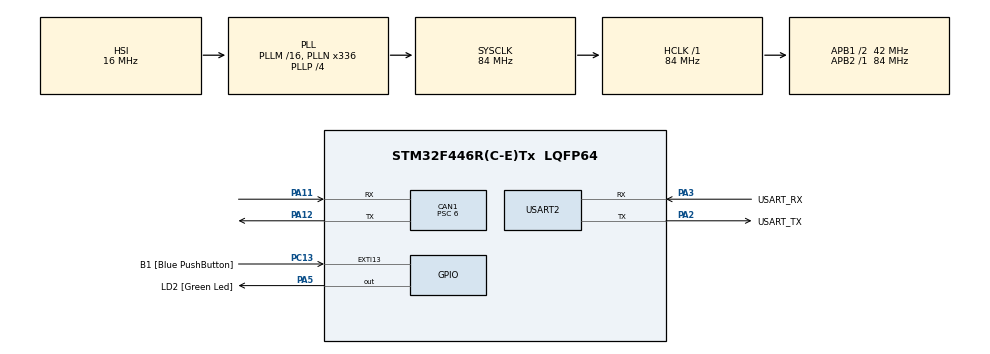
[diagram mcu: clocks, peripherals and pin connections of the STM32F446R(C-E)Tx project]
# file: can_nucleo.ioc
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CAN1.BS1=CAN_BS1_11TQ
CAN1.BS2=CAN_BS2_2TQ
CAN1.CalculateBaudRate=500000
CAN1.CalculateTimeBit=2000
CAN1.CalculateTimeQuantum=142.85714285714286
CAN1.Mode=CAN_MODE_NORMAL
CAN1.NART=ENABLE
CAN1.Prescaler=6
Mcu.Family=STM32F4
Mcu.Name=STM32F446R(C-E)Tx
Mcu.Package=LQFP64
NVIC.CAN1_RX0_IRQn=true\:0\:0\:false\:false\:true\:true\:true\:true
NVIC.CAN1_RX1_IRQn=true\:0\:0\:false\:false\:true\:true\:true\:true
NVIC.PriorityGroup=NVIC_PRIORITYGROUP_0
PA11.Mode=CAN_Activate
PA11.Signal=CAN1_RX
PA12.Mode=CAN_Activate
PA12.Signal=CAN1_TX
PA13.GPIO_Label=TMS
PA13.Mode=Serial_Wire
PA13.Signal=SYS_JTMS-SWDIO
PA14.GPIO_Label=TCK
PA14.Mode=Serial_Wire
PA14.Signal=SYS_JTCK-SWCLK
PA2.GPIO_Label=USART_TX
PA2.Mode=Asynchronous
PA2.Signal=USART2_TX
PA3.GPIO_Label=USART_RX
PA3.Mode=Asynchronous
PA3.Signal=USART2_RX
PA5.GPIO_Label=LD2 [Green Led]
PA5.Signal=GPIO_Output
PB3.GPIO_Label=SWO
PB3.Signal=SYS_JTDO-SWO
PC13.GPIO_Label=B1 [Blue PushButton]
PC13.GPIO_ModeDefaultEXTI=GPIO_MODE_IT_FALLING
PC13.Signal=GPXTI13
PC14-OSC32_IN.Mode=LSE-External-Oscillator
PC14-OSC32_IN.Signal=RCC_OSC32_IN
PC15-OSC32_OUT.Mode=LSE-External-Oscillator
PC15-OSC32_OUT.Signal=RCC_OSC32_OUT
PH0-OSC_IN.Mode=HSE-External-Oscillator
PH0-OSC_IN.Signal=RCC_OSC_IN
PH1-OSC_OUT.Mode=HSE-External-Oscillator
PH1-OSC_OUT.Signal=RCC_OSC_OUT
ProjectManager.HeapSize=0x200
ProjectManager.StackSize=0x400
ProjectManager.TargetToolchain=STM32CubeIDE
RCC.48MHZClocksFreq_Value=84000000
RCC.AHBFreq_Value=84000000
RCC.APB1CLKDivider=RCC_HCLK_DIV2
RCC.APB1Freq_Value=42000000
RCC.APB1TimFreq_Value=84000000
RCC.APB2Freq_Value=84000000
RCC.APB2TimFreq_Value=84000000
RCC.CortexFreq_Value=84000000
RCC.FLatency-AdvancedSettings=FLASH_LATENCY_2
RCC.HCLKFreq_Value=84000000
RCC.HSE_VALUE=8000000
RCC.HSI_VALUE=16000000
RCC.PLLN=336
RCC.PLLP=RCC_PLLP_DIV4
RCC.SYSCLKFreq_VALUE=84000000
RCC.SYSCLKSource=RCC_SYSCLKSOURCE_PLLCLK
RCC.USBFreq_Value=168000000
RCC.VCOOutputFreq_Value=336000000
USART2.VirtualMode=VM_ASYNC
board=NUCLEO-F446RE

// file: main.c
/* USER CODE BEGIN Header */
/**
  ******************************************************************************
  * @file           : main.c
  * @brief          : Main program body
  ******************************************************************************
  * @attention
  *
  * Copyright (c) 2025 STMicroelectronics.
  * All rights reserved.
  *
  * This software is licensed under terms that can be found in the LICENSE file
  * in the root directory of this software component.
  * If no LICENSE file comes with this software, it is provided AS-IS.
  *
  ******************************************************************************
  */
/* USER CODE END Header */
#include "main.h"

CAN_HandleTypeDef hcan1;

UART_HandleTypeDef huart2;

/* USER CODE BEGIN PV */
volatile uint8_t g_rx_flag = 0; // 0=нічого, 1=FIFO0, 2=FIFO1
/* USER CODE END PV */

void SystemClock_Config(void);
static void MX_GPIO_Init(void);
static void MX_USART2_UART_Init(void);
static void MX_CAN1_Init(void);

/* USER CODE BEGIN 0 */
CAN_TxHeaderTypeDef TxHeader;
CAN_RxHeaderTypeDef RxHeader;
uint8_t RxData[8];

/**
  * @brief Колбек для FIFO0 (Команди 0x040)
  * Встановлюємо прапорець для main()
  */
void HAL_CAN_RxFifo0MsgPendingCallback(CAN_HandleTypeDef *hcan)
{
	HAL_CAN_GetRxMessage(hcan, CAN_RX_FIFO0, &RxHeader, RxData);
	if (RxHeader.StdId == 0x040)
	{
		g_rx_flag = 1; // Сигнал для main()
	}
}

/**
  * @brief Колбек для FIFO1 (Heartbeats 0x081)
  */
void HAL_CAN_RxFifo1MsgPendingCallback(CAN_HandleTypeDef *hcan)
{
	HAL_CAN_GetRxMessage(hcan, CAN_RX_FIFO1, &RxHeader, RxData);
	if (RxHeader.StdId == 0x081)
	{
		g_rx_flag = 2; // Сигнал для main()
	}
}
//CAN_TxHeaderTypeDef TxHeader;
//CAN_RxHeaderTypeDef RxHeader;
//
//uint32_t TxMailbox[4];
//
//uint8_t TxData[8];
//uint8_t RxData[8];
//
//uint8_t count = 0;
//
//void HAL_CAN_RxFifo0MsgPendingCallback(CAN_HandleTypeDef *hcan)
//{
//	HAL_CAN_GetRxMessage(hcan, CAN_RX_FIFO0, &RxHeader, RxData);
//	count++;
//    HAL_GPIO_TogglePin(LD2_GPIO_Port, LD2_Pin);
//}
/* USER CODE END 0 */

int main(void)
{

  /* MCU Configuration--------------------------------------------------------*/

  /* Reset of all peripherals, Initializes the Flash interface and the Systick. */
  HAL_Init();

  /* Configure the system clock */
  SystemClock_Config();

  /* Initialize all configured peripherals */
  MX_GPIO_Init();
  MX_USART2_UART_Init();
  MX_CAN1_Init();
  /* USER CODE BEGIN 2 */
//  __HAL_CAN_CLEAR_FLAG(&hcan1, CAN_FLAG_WKU);
  if (HAL_CAN_Start(&hcan1) != HAL_OK) {
      Error_Handler();
  }
  HAL_CAN_ActivateNotification(&hcan1, CAN_IT_RX_FIFO0_MSG_PENDING);
  HAL_CAN_ActivateNotification(&hcan1, CAN_IT_RX_FIFO1_MSG_PENDING);

//  TxHeader.DLC = 8; // Згідно з док. 8 байт (CmdID|...|CRC8) [cite: 22, 25]
//    TxHeader.ExtId = 0;
//    TxHeader.IDE = CAN_ID_STD;
//    TxHeader.RTR = CAN_RTR_DATA;
//    TxHeader.StdId = 0x040; // ID для CMD (Команди)
//    TxHeader.TransmitGlobalTime = DISABLE;
//
//    // "Фейкові" дані команди [cite: 25]
//    TxData[0] = 0x01; // CmdID
//    TxData[1] = 0x0A; // Arg0
//    TxData[2] = 0x0B; // Arg1
//    TxData[3] = 0x0C; // Arg2
//    TxData[4] = 0x44; // Token
//    TxData[5] = 0x01; // Seq
//    TxData[6] = 0xAB; // CRC8
//    TxData[7] = 0x01; // Ver
//  TxHeader.DLC = 1;
//  TxHeader.ExtId = 0;
//  TxHeader.IDE = CAN_ID_STD;
//  TxHeader.RTR = CAN_RTR_DATA;
//  TxHeader.StdId = 0x111;
//  TxHeader.TransmitGlobalTime = DISABLE;
//
//  TxData[0] = 0x01;
//  TxData[1] = 0x02;
//  TxData[2] = 0x03;
//  TxData[3] = 0x04;
//
//  if (HAL_CAN_AddTxMessage(&hcan1, &TxHeader, &TxData[0], &TxMailbox[0]) != HAL_OK)
//  {
//	  Error_Handler();
//  }
//  if (HAL_CAN_AddTxMessage(&hcan1, &TxHeader, &TxData[1], &TxMailbox[1]) != HAL_OK)
//  {
//	  Error_Handler();
//  }
//  if (HAL_CAN_AddTxMessage(&hcan1, &TxHeader, &TxData[2], &TxMailbox[2]) != HAL_OK)
//  {
//	  Error_Handler();
//  }
//  if (HAL_CAN_AddTxMessage(&hcan1, &TxHeader, &TxData[3], &TxMailbox[3]) != HAL_OK)
//  {
//	  Error_Handler();
//  }

  /* USER CODE END 2 */

  /* Infinite loop */
  while (1)
  {

    /* USER CODE BEGIN 3 */
//	  if (HAL_CAN_AddTxMessage(&hcan1, &TxHeader, TxData, &TxMailbox[0]) != HAL_OK)
//	  {
//		  Error_Handler();
//	  }
//	  HAL_Delay(100);
	  if (g_rx_flag == 1) // Отримали повідомлення у FIFO0 (0x040)
	  {
		  // Виконуємо подвійний блимк тут, у main()
		  HAL_GPIO_WritePin(LD2_GPIO_Port, LD2_Pin, GPIO_PIN_SET);
		  HAL_Delay(50);
		  HAL_GPIO_WritePin(LD2_GPIO_Port, LD2_Pin, GPIO_PIN_RESET);
		  HAL_Delay(50);
		  HAL_GPIO_WritePin(LD2_GPIO_Port, LD2_Pin, GPIO_PIN_SET);
		  HAL_Delay(50);
		  HAL_GPIO_WritePin(LD2_GPIO_Port, LD2_Pin, GPIO_PIN_RESET);

		  g_rx_flag = 0; // Скидаємо прапорець
	  }
	  else if (g_rx_flag == 2) // Отримали повідомлення у FIFO1 (0x081)
	  {
		  // Виконуємо Toggle тут, у main()
		  HAL_GPIO_TogglePin(LD2_GPIO_Port, LD2_Pin);

		  g_rx_flag = 0; // Скидаємо прапорець
	  }
  }
  /* USER CODE END 3 */
}

void SystemClock_Config(void)
{
  RCC_OscInitTypeDef RCC_OscInitStruct = {0};
  RCC_ClkInitTypeDef RCC_ClkInitStruct = {0};

  /** Configure the main internal regulator output voltage
  */
  __HAL_RCC_PWR_CLK_ENABLE();
  __HAL_PWR_VOLTAGESCALING_CONFIG(PWR_REGULATOR_VOLTAGE_SCALE3);

  /** Initializes the RCC Oscillators according to the specified parameters
  * in the RCC_OscInitTypeDef structure.
  */
  RCC_OscInitStruct.OscillatorType = RCC_OSCILLATORTYPE_HSI;
  RCC_OscInitStruct.HSIState = RCC_HSI_ON;
  RCC_OscInitStruct.HSICalibrationValue = RCC_HSICALIBRATION_DEFAULT;
  RCC_OscInitStruct.PLL.PLLState = RCC_PLL_ON;
  RCC_OscInitStruct.PLL.PLLSource = RCC_PLLSOURCE_HSI;
  RCC_OscInitStruct.PLL.PLLM = 16;
  RCC_OscInitStruct.PLL.PLLN = 336;
  RCC_OscInitStruct.PLL.PLLP = RCC_PLLP_DIV4;
  RCC_OscInitStruct.PLL.PLLQ = 2;
  RCC_OscInitStruct.PLL.PLLR = 2;
  if (HAL_RCC_OscConfig(&RCC_OscInitStruct) != HAL_OK)
  {
    Error_Handler();
  }

  /** Initializes the CPU, AHB and APB buses clocks
  */
  RCC_ClkInitStruct.ClockType = RCC_CLOCKTYPE_HCLK|RCC_CLOCKTYPE_SYSCLK
                              |RCC_CLOCKTYPE_PCLK1|RCC_CLOCKTYPE_PCLK2;
  RCC_ClkInitStruct.SYSCLKSource = RCC_SYSCLKSOURCE_PLLCLK;
  RCC_ClkInitStruct.AHBCLKDivider = RCC_SYSCLK_DIV1;
  RCC_ClkInitStruct.APB1CLKDivider = RCC_HCLK_DIV2;
  RCC_ClkInitStruct.APB2CLKDivider = RCC_HCLK_DIV1;

  if (HAL_RCC_ClockConfig(&RCC_ClkInitStruct, FLASH_LATENCY_2) != HAL_OK)
  {
    Error_Handler();
  }
}

static void MX_CAN1_Init(void)
{

  hcan1.Instance = CAN1;
  hcan1.Init.Prescaler = 6;
  hcan1.Init.Mode = CAN_MODE_NORMAL;
  hcan1.Init.SyncJumpWidth = CAN_SJW_1TQ;
  hcan1.Init.TimeSeg1 = CAN_BS1_11TQ;
  hcan1.Init.TimeSeg2 = CAN_BS2_2TQ;
  hcan1.Init.TimeTriggeredMode = DISABLE;
  hcan1.Init.AutoBusOff = DISABLE;
  hcan1.Init.AutoWakeUp = DISABLE;
  hcan1.Init.AutoRetransmission = ENABLE;
  hcan1.Init.ReceiveFifoLocked = DISABLE;
  hcan1.Init.TransmitFifoPriority = DISABLE;
  if (HAL_CAN_Init(&hcan1) != HAL_OK)
  {
    Error_Handler();
  }
  /* USER CODE BEGIN CAN1_Init 2 */
  // --- Налаштування Фільтра 0 (для FIFO0) ---
    CAN_FilterTypeDef canfilterconfig_fifo0;

    canfilterconfig_fifo0.FilterActivation = CAN_FILTER_ENABLE;
    canfilterconfig_fifo0.FilterBank = 0; // Використовуємо банк 0
    canfilterconfig_fifo0.FilterFIFOAssignment = CAN_RX_FIFO0; // Направляємо у FIFO0 [cite: 46]
    canfilterconfig_fifo0.FilterMode = CAN_FILTERMODE_IDLIST; // Режим "Точний список ID"
    canfilterconfig_fifo0.FilterScale = CAN_FILTERSCALE_32BIT; // 32-бітний масштаб

    // Дозволяємо ID 0x040
    // Використовуємо зсув << 5, як вимагає bxCAN HAL [cite: 44]
    canfilterconfig_fifo0.FilterIdHigh = (0x040 << 5);
    canfilterconfig_fifo0.FilterIdLow = 0x0000;
    // Маски не використовуються в режимі IDLIST
    canfilterconfig_fifo0.FilterMaskIdHigh = 0x0000;
    canfilterconfig_fifo0.FilterMaskIdLow = 0x0000;

    canfilterconfig_fifo0.SlaveStartFilterBank = 14; // Розділ банків (для F4)

    if (HAL_CAN_ConfigFilter(&hcan1, &canfilterconfig_fifo0) != HAL_OK)
    {
        Error_Handler();
    }

    // --- Налаштування Фільтра 1 (для FIFO1) ---
    CAN_FilterTypeDef canfilterconfig_fifo1;

    canfilterconfig_fifo1.FilterActivation = CAN_FILTER_ENABLE;
    canfilterconfig_fifo1.FilterBank = 1; // Використовуємо банк 1
    canfilterconfig_fifo1.FilterFIFOAssignment = CAN_RX_FIFO1; // Направляємо у FIFO1 [cite: 47]
    canfilterconfig_fifo1.FilterMode = CAN_FILTERMODE_IDLIST;
    canfilterconfig_fifo1.FilterScale = CAN_FILTERSCALE_32BIT;

    // Дозволяємо ID 0x081 (Heartbeat від Node A)
    canfilterconfig_fifo1.FilterIdHigh = (0x081 << 5); // Зсув << 5 [cite: 44]
    canfilterconfig_fifo1.FilterIdLow = 0x0000;
    canfilterconfig_fifo1.FilterMaskIdHigh = 0x0000;
    canfilterconfig_fifo1.FilterMaskIdLow = 0x0000;

    // SlaveStartFilterBank ігнорується для банків > 0, але встановимо для ясності
    canfilterconfig_fifo1.SlaveStartFilterBank = 14;

    if (HAL_CAN_ConfigFilter(&hcan1, &canfilterconfig_fifo1) != HAL_OK)
    {
        Error_Handler();
    }
  //  CAN_FilterTypeDef canfilterconfig;
//
//  canfilterconfig.FilterActivation = CAN_FILTER_ENABLE;
//  canfilterconfig.FilterBank = 10;  // anything between 0 to SlaveStartFilterBank
//  canfilterconfig.FilterFIFOAssignment = CAN_RX_FIFO0;
////  canfilterconfig.FilterIdHigh = 0x103<<5;
//  canfilterconfig.FilterIdHigh = 0x0000;
//  canfilterconfig.FilterIdLow = 0x0000;
////  canfilterconfig.FilterMaskIdHigh = 0x7FF<<5;
//  canfilterconfig.FilterMaskIdHigh = 0x0000;
//  canfilterconfig.FilterMaskIdLow = 0x0000;
//  canfilterconfig.FilterMode = CAN_FILTERMODE_IDMASK;
//  canfilterconfig.FilterScale = CAN_FILTERSCALE_32BIT;
//  canfilterconfig.SlaveStartFilterBank = 14;  // 13 to 27 are assigned to slave CAN (CAN 2) OR 0 to 12 are assgned to CAN1
//
//  HAL_CAN_ConfigFilter(&hcan1, &canfilterconfig);
  /* USER CODE END CAN1_Init 2 */

}

static void MX_USART2_UART_Init(void)
{

  huart2.Instance = USART2;
  huart2.Init.BaudRate = 115200;
  huart2.Init.WordLength = UART_WORDLENGTH_8B;
  huart2.Init.StopBits = UART_STOPBITS_1;
  huart2.Init.Parity = UART_PARITY_NONE;
  huart2.Init.Mode = UART_MODE_TX_RX;
  huart2.Init.HwFlowCtl = UART_HWCONTROL_NONE;
  huart2.Init.OverSampling = UART_OVERSAMPLING_16;
  if (HAL_UART_Init(&huart2) != HAL_OK)
  {
    Error_Handler();
  }

}

static void MX_GPIO_Init(void)
{
  GPIO_InitTypeDef GPIO_InitStruct = {0};

  /* GPIO Ports Clock Enable */
  __HAL_RCC_GPIOC_CLK_ENABLE();
  __HAL_RCC_GPIOH_CLK_ENABLE();
  __HAL_RCC_GPIOA_CLK_ENABLE();
  __HAL_RCC_GPIOB_CLK_ENABLE();

  /*Configure GPIO pin Output Level */
  HAL_GPIO_WritePin(LD2_GPIO_Port, LD2_Pin, GPIO_PIN_RESET);

  /*Configure GPIO pin : B1_Pin */
  GPIO_InitStruct.Pin = B1_Pin;
  GPIO_InitStruct.Mode = GPIO_MODE_IT_FALLING;
  GPIO_InitStruct.Pull = GPIO_NOPULL;
  HAL_GPIO_Init(B1_GPIO_Port, &GPIO_InitStruct);

  /*Configure GPIO pin : LD2_Pin */
  GPIO_InitStruct.Pin = LD2_Pin;
  GPIO_InitStruct.Mode = GPIO_MODE_OUTPUT_PP;
  GPIO_InitStruct.Pull = GPIO_NOPULL;
  GPIO_InitStruct.Speed = GPIO_SPEED_FREQ_LOW;
  HAL_GPIO_Init(LD2_GPIO_Port, &GPIO_InitStruct);

}

void Error_Handler(void)
{
  __disable_irq();
  while (1)
  {
  }
}
